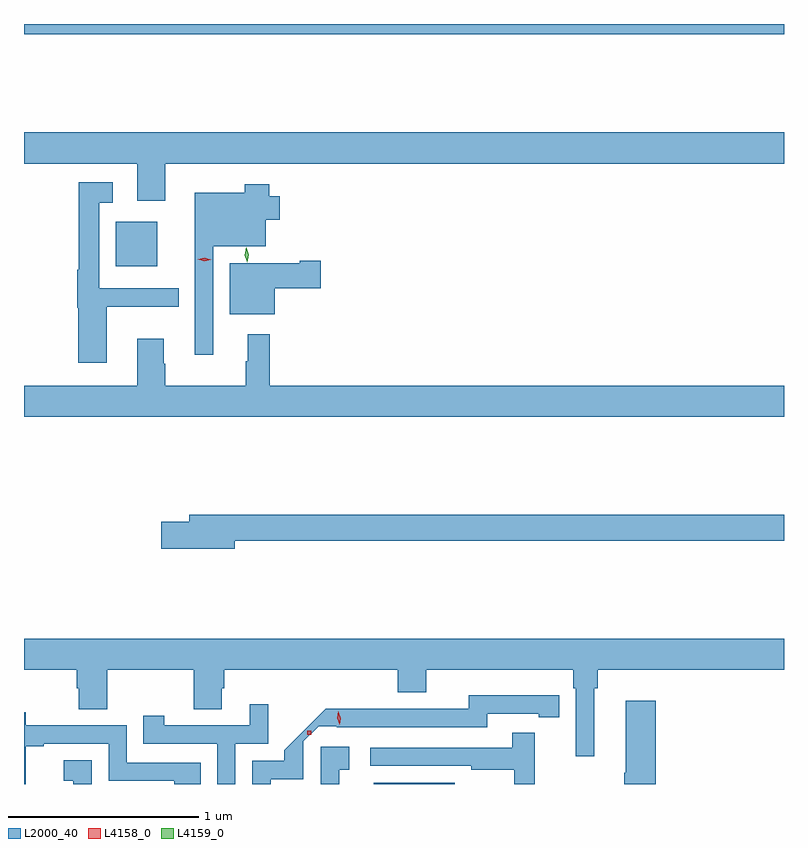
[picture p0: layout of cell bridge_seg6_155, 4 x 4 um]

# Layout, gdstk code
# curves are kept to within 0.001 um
import gdstk
lib = gdstk.Library(unit=1e-6, precision=1e-09)
def R(c, l, rs):  # rectangles x0, y0, x1, y1
    for r in rs: c.add(gdstk.rectangle(r[:2], r[2:], *l))
def P(c, l, *ps):  # polygons
    for p in ps: c.add(gdstk.Polygon(p, *l))
L2000_40 = (2000, 40)
L4158_0 = (4158, 0)
L4159_0 = (4159, 0)

bridge_seg6_155 = lib.new_cell('bridge_seg6_155')
R(bridge_seg6_155, L2000_40, [(508.112,934.747,508.54,934.753), (506.756,937.472,506.974,937.705), (506.272,938.692,510.272,938.747)])
P(bridge_seg6_155, L2000_40, [(507.016,938.012),(510.272,938.012),(510.272,938.176),(506.272,938.176),(506.272,938.012),(506.867,938.012),(506.867,937.818),(507.016,937.818)],
  [(506.707,937.259),(507.086,937.259),(507.086,937.356),(506.667,937.356),(506.667,937.805),(506.74,937.805),(506.74,937.915),(506.559,937.915),(506.559,937.453),(506.551,937.453),(506.551,937.253),(506.558,937.253),(506.558,936.963),(506.707,936.963)],
  [(507.267,937.577),(507.544,937.577),(507.544,937.718),(507.617,937.718),(507.617,937.84),(507.563,937.84),(507.563,937.903),(507.435,937.903),(507.435,937.858),(507.17,937.858),(507.17,937.481),(507.171,937.481),(507.171,937.005),(507.267,937.005)],
  [(507.592,937.355),(507.835,937.355),(507.835,937.502),(507.722,937.502),(507.722,937.489),(507.356,937.489),(507.356,937.22),(507.592,937.22)],
  [(510.272,936.844),(507.566,936.844),(507.566,937.114),(507.449,937.114),(507.449,936.971),(507.438,936.971),(507.438,936.844),(507.015,936.844),(507.015,936.959),(507.007,936.959),(507.007,937.09),(506.867,937.09),(506.867,936.844),(506.272,936.844),(506.272,936.68),(510.272,936.68)],
  [(507.382,936.028),(510.272,936.028),(510.272,936.164),(507.143,936.164),(507.143,936.128),(506.994,936.128),(506.994,935.986),(507.382,935.986)],
  [(509.272,935.252),(509.291,935.252),(509.291,935.348),(510.272,935.348),(510.272,935.512),(506.272,935.512),(506.272,935.348),(506.549,935.348),(506.549,935.25),(506.561,935.25),(506.561,935.14),(506.709,935.14),(506.709,935.348),(507.166,935.348),(507.166,935.14),(507.313,935.14),(507.313,935.25),(507.326,935.25),(507.326,935.348),(508.238,935.348),(508.238,935.231),(508.39,935.231),(508.39,935.348),(509.162,935.348),(509.162,935.252),(509.175,935.252),(509.175,934.893),(509.272,934.893)],
  [(507.571,934.773),(507.742,934.773),(507.742,934.972),(507.822,935.052),(507.919,935.052),(507.919,935.046),(508.71,935.046),(508.71,935.118),(508.982,935.118),(508.982,935.098),(509.09,935.098),(509.09,935.214),(508.614,935.215),(508.614,935.142),(508.154,935.142),(508.154,935.144),(507.861,935.144),(507.641,934.924),(507.641,934.869),(507.474,934.869),(507.474,934.747),(507.571,934.747)],
  [(509.597,935.185),(509.438,935.185),(509.438,934.805),(509.431,934.805),(509.431,934.747),(509.597,934.747)],
  [(507.384,934.959),(507.558,934.959),(507.558,935.167),(507.461,935.167),(507.461,935.055),(507.01,935.055),(507.01,935.107),(506.899,935.107),(506.899,934.959),(507.288,934.959),(507.288,934.747),(507.384,934.747)],
  [(506.282,934.947),(506.377,934.947),(506.377,934.959),(506.718,934.959),(506.718,934.764),(507.063,934.764),(507.063,934.747),(507.203,934.747),(507.203,934.86),(506.814,934.86),(506.814,935.055),(506.28,935.055),(506.28,935.124),(506.272,935.124),(506.272,934.747),(506.282,934.747)],
  [(508.961,935.017),(508.843,935.017),(508.843,934.938),(508.095,934.938),(508.095,934.842),(508.627,934.842),(508.627,934.822),(508.851,934.822),(508.851,934.747),(508.961,934.747)],
  [(507.932,934.821),(507.985,934.821),(507.985,934.942),(507.834,934.942),(507.834,934.747),(507.932,934.747)],
  [(506.628,934.873),(506.481,934.873),(506.481,934.763),(506.53,934.763),(506.53,934.747),(506.628,934.747)])
R(bridge_seg6_155, L4158_0, [(507.763,935.007,507.783,935.027)])
P(bridge_seg6_155, L4158_0, [(507.221,937.498),(507.186,937.51),(507.186,937.51),(507.186,937.51),(507.222,937.518),(507.257,937.507),(507.257,937.507),(507.257,937.506)],
  [(507.933,935.058),(507.933,935.058),(507.92,935.093),(507.927,935.129),(507.927,935.129),(507.927,935.129),(507.94,935.094),(507.933,935.058)])
P(bridge_seg6_155, L4159_0, [(507.447,937.493),(507.447,937.493),(507.434,937.531),(507.441,937.571),(507.441,937.571),(507.441,937.571),(507.454,937.533),(507.447,937.493)])

lib.write_gds('bridge_seg6_155.gds')
